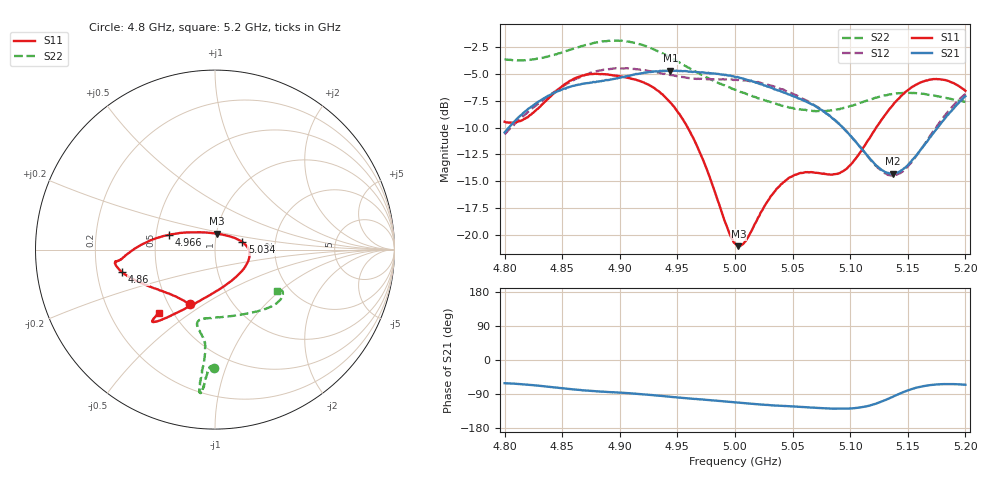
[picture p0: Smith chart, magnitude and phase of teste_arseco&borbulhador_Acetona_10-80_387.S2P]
! Network Analyzer HP8722D
! Hewlett-Packard
! Data name: Linha & Wilkinson
! Saver's name: Rodrigo Anjos
! Comments: Teste da utilização de aquisição
! continua pelo VNA HP8722D
! Time and date: 17/4/2025 17:35
!  Frequency  S11  S21  S12  S22
# HZ  S  MA R 50
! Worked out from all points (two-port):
!   401 points, 4.8 GHz to 5.2 GHz, reference 50 ohm
!   highest |S21| = -4.70 dB at 4.944 GHz (marker M1); lowest = -14.3 dB at 5.137 GHz (marker M2)
!   |S21| within 3 dB of the highest: 4.828 GHz to 5.064 GHz (236.1 MHz wide, 4.77 % of centre); 5.194204 GHz to end of sweep
!   lowest |S11| = -21.0 dB at 5.003 GHz (marker M3), VSWR 1.20, Z = 50.2 + j8.93 ohm
!   |S11| at or under -10 dB: 4.959 GHz to 5.123 GHz (163.7 MHz wide, 3.25 % of centre)
!   |S22| runs from -8.5 to -1.9 dB; largest |S21 - S12| = 0.87
!   S11 on the Smith chart (normalised r, x): 4.8 GHz: 0.64, -0.44; 4.86 GHz: 0.31, -0.11; 4.966 GHz: 0.59, +0.10; 5.034 GHz: 1.36, +0.12; 5.2 GHz: 0.42, -0.38
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4.8e9  0.3367 -114.8  0.3003 -61.3  0.294 -175.4  0.657 -90.5
4.818e9  0.3483 -133.9  0.376 -64.8  0.3649 -174.6  0.6499 -92.0
4.86e9  0.5329 -166.4  0.4944 -77.6  0.5263 -177.7  0.7362 -94.4
4.867e9  0.55 -169.2  0.5045 -79.8  0.5464 -179.0  0.7569 -94.6
4.899e9  0.5488 -173.3  0.5382 -86.1  0.5954 174.6  0.8007 -96.0
4.934e9  0.4658 -179.1  0.5776 -94.4  0.5708 171.1  0.7119 -96.3
4.944e9  0.4137 176.4  0.582 -97.1  0.5548 171.1  0.6691 -96.0
4.966e9  0.2668 162.0  0.5735 -102.7  0.533 173.1  0.575 -95.4
4.994e9  0.1057 116.4  0.5521 -110.1  0.5283 175.4  0.4884 -98.3
5e9  0.09163 95.4  0.5431 -111.8  0.5281 175.5  0.4742 -99.4
5.003e9  0.08884 83.7  0.5412 -112.7  0.5269 175.3  0.4675 -100.2
5.01e9  0.09531 58.7  0.5282 -114.3  0.523 175.3  0.4532 -101.5
5.034e9  0.1586 15.4  0.4765 -120.1  0.4904 174.2  0.4098 -103.3
5.049e9  0.1867 0.4  0.4451 -122.3  0.4571 173.5  0.3903 -99.5
5.067e9  0.196 -18.8  0.4048 -125.5  0.4086 173.0  0.3783 -89.7
5.096e9  0.2022 -69.3  0.306 -128.5  0.3069 174.7  0.392 -67.3
5.122e9  0.3127 -109.2  0.2125 -115.6  0.2106 -170.2  0.4351 -49.2
5.134e9  0.385 -118.6  0.1936 -101.1  0.1899 -154.1  0.4509 -43.1
5.137e9  0.4018 -120.3  0.1929 -97.2  0.1895 -149.2  0.4538 -41.9
5.15e9  0.4713 -126.0  0.2112 -80.4  0.2085 -130.1  0.4585 -37.1
5.17e9  0.5292 -130.3  0.2869 -66.0  0.2929 -112.3  0.4482 -32.4
5.2e9  0.4686 -131.6  0.4423 -65.4  0.4541 -107.4  0.4159 -34.0
